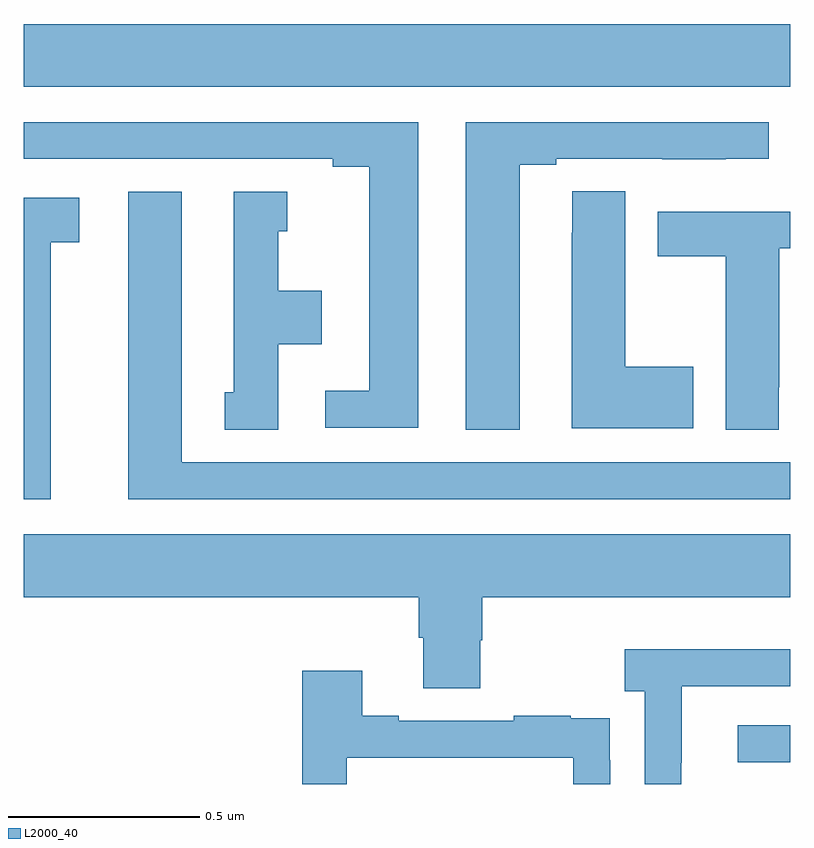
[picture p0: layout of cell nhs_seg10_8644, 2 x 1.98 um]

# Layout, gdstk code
import gdstk
lib = gdstk.Library(unit=1e-6, precision=1e-09)
def R(c, l, rs):  # rectangles x0, y0, x1, y1
    for r in rs: c.add(gdstk.rectangle(r[:2], r[2:], *l))
def P(c, l, *ps):  # polygons
    for p in ps: c.add(gdstk.Polygon(p, *l))
L2000_40 = (2000, 40)

nhs_seg10_8644 = lib.new_cell('nhs_seg10_8644')
R(nhs_seg10_8644, L2000_40, [(220.863,1294.557,221,1294.653), (219,1296.32,221,1296.484)])
P(nhs_seg10_8644, L2000_40, [(220.294,1296.117),(220.39,1296.117),(220.39,1296.132),(220.666,1296.132),(220.666,1296.131),(220.832,1296.131),(220.832,1296.132),(220.945,1296.132),(220.945,1296.228),(220.154,1296.228),(220.154,1295.425),(220.294,1295.425)],
  [(220.03,1296.228),(219,1296.228),(219,1296.132),(219.806,1296.132),(219.806,1296.112),(219.902,1296.112),(219.902,1295.526),(219.786,1295.526),(219.786,1295.43),(220.03,1295.43)],
  [(220.747,1295.589),(220.57,1295.589),(220.57,1296.047),(220.431,1296.047),(220.431,1295.939),(220.43,1295.939),(220.43,1295.429),(220.747,1295.429)],
  [(221,1295.34),(219.412,1295.34),(219.412,1296.046),(219.272,1296.046),(219.272,1295.244),(221,1295.244)],
  [(219.664,1295.648),(219.778,1295.648),(219.778,1295.788),(219.664,1295.788),(219.664,1295.943),(219.688,1295.943),(219.688,1296.046),(219.548,1296.046),(219.548,1295.523),(219.524,1295.523),(219.524,1295.425),(219.664,1295.425)],
  [(219.07,1295.914),(219.145,1295.914),(219.145,1296.03),(219,1296.03),(219,1295.244),(219.07,1295.244)],
  [(220.971,1295.536),(220.972,1295.536),(220.972,1295.898),(221,1295.898),(221,1295.994),(220.655,1295.994),(220.655,1295.878),(220.832,1295.878),(220.832,1295.425),(220.971,1295.425)],
  [(220.191,1294.875),(220.196,1294.875),(220.196,1294.988),(221,1294.988),(221,1295.152),(219,1295.152),(219,1294.988),(220.031,1294.988),(220.031,1294.882),(220.043,1294.882),(220.043,1294.75),(220.191,1294.75)],
  [(220.716,1294.555),(220.717,1294.555),(220.717,1294.755),(221,1294.755),(221,1294.852),(220.569,1294.852),(220.569,1294.742),(220.62,1294.742),(220.62,1294.5),(220.716,1294.5)],
  [(219.843,1294.569),(220.434,1294.569),(220.434,1294.5),(220.53,1294.5),(220.53,1294.562),(220.529,1294.562),(220.529,1294.671),(220.427,1294.671),(220.427,1294.678),(220.279,1294.678),(220.279,1294.665),(219.979,1294.665),(219.979,1294.678),(219.883,1294.678),(219.883,1294.795),(219.727,1294.795),(219.727,1294.5),(219.843,1294.5)])

lib.write_gds('nhs_seg10_8644.gds')
